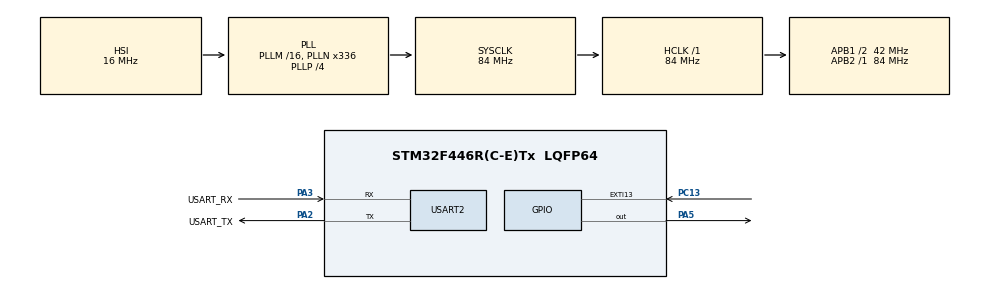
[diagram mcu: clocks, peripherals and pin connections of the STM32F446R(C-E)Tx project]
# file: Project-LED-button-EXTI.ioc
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Mcu.Family=STM32F4
Mcu.Name=STM32F446R(C-E)Tx
Mcu.Package=LQFP64
NVIC.EXTI15_10_IRQn=true\:0\:0\:false\:false\:true\:true\:true\:true
NVIC.PriorityGroup=NVIC_PRIORITYGROUP_0
PA13.GPIO_Label=TMS
PA13.Mode=Serial_Wire
PA13.Signal=SYS_JTMS-SWDIO
PA14.GPIO_Label=TCK
PA14.Mode=Serial_Wire
PA14.Signal=SYS_JTCK-SWCLK
PA2.GPIO_Label=USART_TX
PA2.Mode=Asynchronous
PA2.Signal=USART2_TX
PA3.GPIO_Label=USART_RX
PA3.Mode=Asynchronous
PA3.Signal=USART2_RX
PA5.GPIO_ModeDefaultOutputPP=GPIO_MODE_OUTPUT_PP
PA5.PinState=GPIO_PIN_RESET
PA5.Signal=GPIO_Output
PB3.GPIO_Label=SWO
PB3.Signal=SYS_JTDO-SWO
PC13.GPIO_ModeDefaultEXTI=GPIO_MODE_IT_FALLING
PC13.Signal=GPXTI13
PC14-OSC32_IN.Mode=LSE-External-Oscillator
PC14-OSC32_IN.Signal=RCC_OSC32_IN
PC15-OSC32_OUT.Mode=LSE-External-Oscillator
PC15-OSC32_OUT.Signal=RCC_OSC32_OUT
PH0-OSC_IN.Mode=HSE-External-Oscillator
PH0-OSC_IN.Signal=RCC_OSC_IN
PH1-OSC_OUT.Mode=HSE-External-Oscillator
PH1-OSC_OUT.Signal=RCC_OSC_OUT
ProjectManager.HeapSize=0x200
ProjectManager.StackSize=0x400
ProjectManager.TargetToolchain=STM32CubeIDE
RCC.48MHZClocksFreq_Value=84000000
RCC.AHBFreq_Value=84000000
RCC.APB1CLKDivider=RCC_HCLK_DIV2
RCC.APB1Freq_Value=42000000
RCC.APB1TimFreq_Value=84000000
RCC.APB2Freq_Value=84000000
RCC.APB2TimFreq_Value=84000000
RCC.CortexFreq_Value=84000000
RCC.FLatency-AdvancedSettings=FLASH_LATENCY_2
RCC.HCLKFreq_Value=84000000
RCC.HSE_VALUE=8000000
RCC.HSI_VALUE=16000000
RCC.PLLN=336
RCC.PLLP=RCC_PLLP_DIV4
RCC.SYSCLKFreq_VALUE=84000000
RCC.SYSCLKSource=RCC_SYSCLKSOURCE_PLLCLK
RCC.USBFreq_Value=168000000
RCC.VCOOutputFreq_Value=336000000
USART2.VirtualMode=VM_ASYNC
board=NUCLEO-F446RE

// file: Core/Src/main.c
/* USER CODE BEGIN Header */
/**
  ******************************************************************************
  * @file           : main.c
  * @brief          : Main program body
  ******************************************************************************
  * @attention
  *
  * Copyright (c) 2023 STMicroelectronics.
  * All rights reserved.
  *
  * This software is licensed under terms that can be found in the LICENSE file
  * in the root directory of this software component.
  * If no LICENSE file comes with this software, it is provided AS-IS.
  *
  ******************************************************************************
  */
/* USER CODE END Header */
#include "main.h"

/* USER CODE BEGIN PD */
#define LED_OFF_MODE 		(0U)
#define LED_ON_MODE	 		(1U)
#define LED_FLASH_FAST_MODE (2U)
#define LED_FLASH_SLOW_MODE (3U)
/* USER CODE END PD */

UART_HandleTypeDef huart2;

/* USER CODE BEGIN PV */
uint8_t LED_mode = LED_OFF_MODE;
/* USER CODE END PV */

void SystemClock_Config(void);
static void MX_GPIO_Init(void);
static void MX_USART2_UART_Init(void);

/* USER CODE BEGIN 0 */
void HAL_GPIO_EXTI_Callback(uint16_t GPIO_Pin)
{
	LED_mode = LED_mode + 1;
	if (LED_mode > LED_FLASH_SLOW_MODE)
	{
		LED_mode = LED_OFF_MODE;
	}
}
/* USER CODE END 0 */

int main(void)
{

  /* MCU Configuration--------------------------------------------------------*/

  /* Reset of all peripherals, Initializes the Flash interface and the Systick. */
  HAL_Init();

  /* Configure the system clock */
  SystemClock_Config();

  /* Initialize all configured peripherals */
  MX_GPIO_Init();
  MX_USART2_UART_Init();

  /* Infinite loop */
  /* USER CODE BEGIN WHILE */
  while (1)
  {
	  if (LED_mode == LED_OFF_MODE)
	  {
		  HAL_GPIO_WritePin(GPIOA, GPIO_PIN_5, GPIO_PIN_RESET);
	  }

	  if (LED_mode == LED_ON_MODE)
	  {
		  HAL_GPIO_WritePin(GPIOA, GPIO_PIN_5, GPIO_PIN_SET);
	  }

	  if (LED_mode == LED_FLASH_FAST_MODE)
	  {
		  HAL_GPIO_WritePin(GPIOA, GPIO_PIN_5, GPIO_PIN_SET);
	  	  HAL_Delay(500);
	  	  HAL_GPIO_WritePin(GPIOA, GPIO_PIN_5, GPIO_PIN_RESET);
	  	  HAL_Delay(500);
	  }
	  if (LED_mode == LED_FLASH_SLOW_MODE)
	  {
		  HAL_GPIO_WritePin(GPIOA, GPIO_PIN_5, GPIO_PIN_SET);
	  	  HAL_Delay(1000);
	  	  HAL_GPIO_WritePin(GPIOA, GPIO_PIN_5, GPIO_PIN_RESET);
	  	  HAL_Delay(1000);
	  }
    /* USER CODE END WHILE */

  }
}

void SystemClock_Config(void)
{
  RCC_OscInitTypeDef RCC_OscInitStruct = {0};
  RCC_ClkInitTypeDef RCC_ClkInitStruct = {0};

  /** Configure the main internal regulator output voltage
  */
  __HAL_RCC_PWR_CLK_ENABLE();
  __HAL_PWR_VOLTAGESCALING_CONFIG(PWR_REGULATOR_VOLTAGE_SCALE3);

  /** Initializes the RCC Oscillators according to the specified parameters
  * in the RCC_OscInitTypeDef structure.
  */
  RCC_OscInitStruct.OscillatorType = RCC_OSCILLATORTYPE_HSI;
  RCC_OscInitStruct.HSIState = RCC_HSI_ON;
  RCC_OscInitStruct.HSICalibrationValue = RCC_HSICALIBRATION_DEFAULT;
  RCC_OscInitStruct.PLL.PLLState = RCC_PLL_ON;
  RCC_OscInitStruct.PLL.PLLSource = RCC_PLLSOURCE_HSI;
  RCC_OscInitStruct.PLL.PLLM = 16;
  RCC_OscInitStruct.PLL.PLLN = 336;
  RCC_OscInitStruct.PLL.PLLP = RCC_PLLP_DIV4;
  RCC_OscInitStruct.PLL.PLLQ = 2;
  RCC_OscInitStruct.PLL.PLLR = 2;
  if (HAL_RCC_OscConfig(&RCC_OscInitStruct) != HAL_OK)
  {
    Error_Handler();
  }

  /** Initializes the CPU, AHB and APB buses clocks
  */
  RCC_ClkInitStruct.ClockType = RCC_CLOCKTYPE_HCLK|RCC_CLOCKTYPE_SYSCLK
                              |RCC_CLOCKTYPE_PCLK1|RCC_CLOCKTYPE_PCLK2;
  RCC_ClkInitStruct.SYSCLKSource = RCC_SYSCLKSOURCE_PLLCLK;
  RCC_ClkInitStruct.AHBCLKDivider = RCC_SYSCLK_DIV1;
  RCC_ClkInitStruct.APB1CLKDivider = RCC_HCLK_DIV2;
  RCC_ClkInitStruct.APB2CLKDivider = RCC_HCLK_DIV1;

  if (HAL_RCC_ClockConfig(&RCC_ClkInitStruct, FLASH_LATENCY_2) != HAL_OK)
  {
    Error_Handler();
  }
}

static void MX_USART2_UART_Init(void)
{

  huart2.Instance = USART2;
  huart2.Init.BaudRate = 115200;
  huart2.Init.WordLength = UART_WORDLENGTH_8B;
  huart2.Init.StopBits = UART_STOPBITS_1;
  huart2.Init.Parity = UART_PARITY_NONE;
  huart2.Init.Mode = UART_MODE_TX_RX;
  huart2.Init.HwFlowCtl = UART_HWCONTROL_NONE;
  huart2.Init.OverSampling = UART_OVERSAMPLING_16;
  if (HAL_UART_Init(&huart2) != HAL_OK)
  {
    Error_Handler();
  }

}

static void MX_GPIO_Init(void)
{
  GPIO_InitTypeDef GPIO_InitStruct = {0};

  /* GPIO Ports Clock Enable */
  __HAL_RCC_GPIOC_CLK_ENABLE();
  __HAL_RCC_GPIOH_CLK_ENABLE();
  __HAL_RCC_GPIOA_CLK_ENABLE();
  __HAL_RCC_GPIOB_CLK_ENABLE();

  /*Configure GPIO pin Output Level */
  HAL_GPIO_WritePin(GPIOA, GPIO_PIN_5, GPIO_PIN_RESET);

  /*Configure GPIO pin : PC13 */
  GPIO_InitStruct.Pin = GPIO_PIN_13;
  GPIO_InitStruct.Mode = GPIO_MODE_IT_FALLING;
  GPIO_InitStruct.Pull = GPIO_NOPULL;
  HAL_GPIO_Init(GPIOC, &GPIO_InitStruct);

  /*Configure GPIO pin : PA5 */
  GPIO_InitStruct.Pin = GPIO_PIN_5;
  GPIO_InitStruct.Mode = GPIO_MODE_OUTPUT_PP;
  GPIO_InitStruct.Pull = GPIO_NOPULL;
  GPIO_InitStruct.Speed = GPIO_SPEED_FREQ_LOW;
  HAL_GPIO_Init(GPIOA, &GPIO_InitStruct);

  /* EXTI interrupt init*/
  HAL_NVIC_SetPriority(EXTI15_10_IRQn, 0, 0);
  HAL_NVIC_EnableIRQ(EXTI15_10_IRQn);

}

void Error_Handler(void)
{
  __disable_irq();
  while (1)
  {
  }
}
